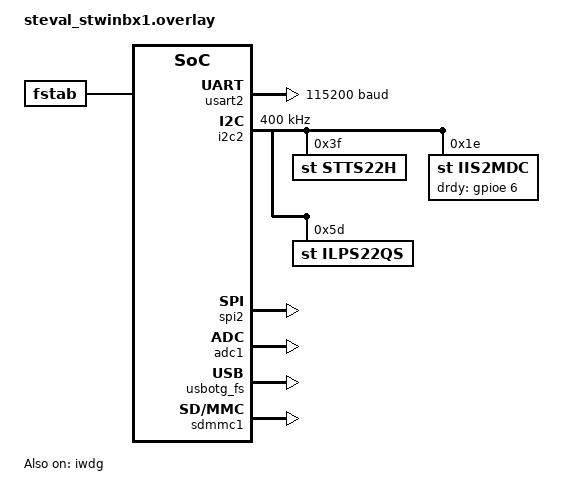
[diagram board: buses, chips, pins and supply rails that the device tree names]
/*
 * ST STEVAL-STWINBX1 Device Tree Overlay for AkiraOS
 * Board: steval_stwinbx1
 * 
 * This board has many built-in sensors:
 * - IIS2DLPC: 3-axis accelerometer (SPI)
 * - ISM330DHCX: 6-axis IMU with ML Core (SPI)
 * - IIS2ICLX: 2-axis inclinometer with ML Core (SPI)
 * - STTS22H: Temperature sensor (I2C)
 * - IIS2MDC: 3-axis magnetometer (I2C)
 * - ILPS22QS: Pressure sensor (I2C)
 */

/ {
    chosen {
        zephyr,console = &usart2;
        zephyr,shell-uart = &usart2;
    };

    aliases {
        led0 = &green_led;
        led1 = &orange_led;
        sw0 = &user_button;
        akira-adc = &adc1;
    };
};

/* Console via USART2 (available on SWD connector) */
&usart2 {
    status = "okay";
    current-speed = <115200>;
};

/* I2C2 for sensors (per board's actual configuration) */
&i2c2 {
    status = "okay";
    clock-frequency = <I2C_BITRATE_FAST>;

    /* STTS22H Temperature Sensor */
    stts22h@3f {
        compatible = "st,stts22h";
        reg = <0x3f>;
    };

    /* IIS2MDC Magnetometer */
    iis2mdc@1e {
        compatible = "st,iis2mdc";
        reg = <0x1e>;
        drdy-gpios = <&gpioe 6 GPIO_ACTIVE_HIGH>;
    };

    /* ILPS22QS Pressure Sensor */
    ilps22qs@5d {
        compatible = "st,ilps22qs";
        reg = <0x5d>;
    };
};

/* SPI2 motion sensors are already configured in base board DTS
 * Just ensure the interface is enabled - sensors are:
 * - iis2dlpc@0: 3-axis accelerometer
 * - ism330dhcx@1: 6-axis IMU with ML Core
 * - iis2iclx@2: 2-axis inclinometer with ML Core
 */
&spi2 {
    status = "okay";
};

/* Enable ADC for analog sensors */
&adc1 {
    status = "okay";
};

/* Enable USB for CDC ACM console */
&usbotg_fs {
    status = "okay";
};

/* SD Card via SDMMC is already configured in base board DTS */
/* Just ensure it's enabled */
&sdmmc1 {
    status = "okay";
};

/* Note: FDCAN not configured - would need pinctrl setup */

/* Enable watchdog */
&iwdg {
    status = "okay";
};

/* RTC requires proper clock source configuration
 * Disabled until clock source is set up in overlay
 */

/* Flash partitions — split storage_partition (0xf0000, 64KB) into:
 * 16KB NVS settings + 48KB LittleFS app storage */
&flash0 {
    partitions {
        akira_settings_nvs_partition: partition@f0000 {
            label = "akira_settings_nvs";
            reg = <0x000f0000 DT_SIZE_K(16)>;
        };

        lfs1_partition: partition@f4000 {
            label = "lfs_storage";
            reg = <0x000f4000 DT_SIZE_K(48)>;
        };
    };
};

/ {
    chosen {
        zephyr,settings-partition = &akira_settings_nvs_partition;
    };

    fstab {
        compatible = "zephyr,fstab";

        lfs1: lfs1 {
            compatible = "zephyr,fstab,littlefs";
            read-size = <1>;
            prog-size = <16>;
            cache-size = <256>;
            lookahead-size = <32>;
            block-cycles = <512>;
            partition = <&lfs1_partition>;
            mount-point = "/lfs";
        };
    };
};
